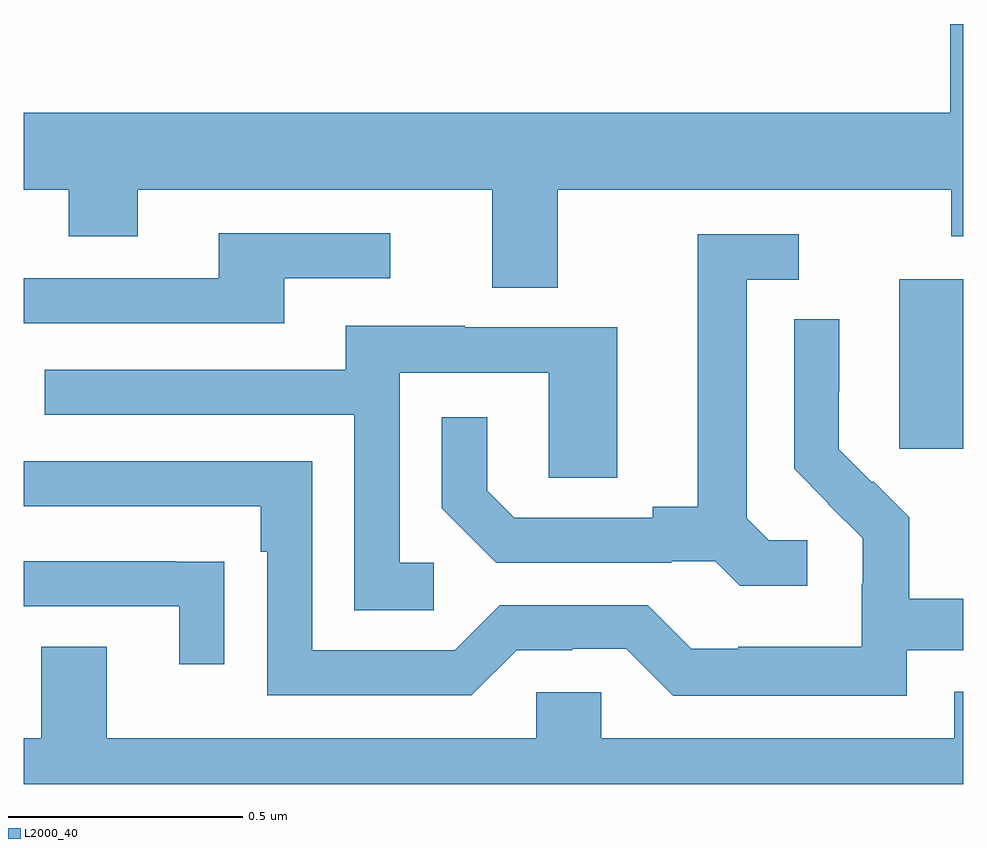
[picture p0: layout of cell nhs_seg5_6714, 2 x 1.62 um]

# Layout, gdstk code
import gdstk
lib = gdstk.Library(unit=1e-6, precision=1e-09)
def R(c, l, rs):  # rectangles x0, y0, x1, y1
    for r in rs: c.add(gdstk.rectangle(r[:2], r[2:], *l))
def P(c, l, *ps):  # polygons
    for p in ps: c.add(gdstk.Polygon(p, *l))
L2000_40 = (2000, 40)

nhs_seg5_6714 = lib.new_cell('nhs_seg5_6714')
R(nhs_seg5_6714, L2000_40, [(200.864,885.513,201,885.874)])
P(nhs_seg5_6714, L2000_40, [(200.137,886.064),(200.974,886.064),(200.974,885.965),(201,885.965),(201,886.417),(200.972,886.417),(200.972,886.228),(199,886.228),(199,886.064),(199.096,886.064),(199.096,885.965),(199.243,885.965),(199.243,886.064),(199.997,886.064),(199.997,885.856),(200.137,885.856)],
  [(199.555,885.876),(199.78,885.876),(199.78,885.972),(199.415,885.972),(199.415,885.876),(199,885.876),(199,885.78),(199.555,885.78)],
  [(200.668,885.318),(200.586,885.318),(200.539,885.365),(200.539,885.873),(200.65,885.873),(200.65,885.969),(200.435,885.969),(200.435,885.389),(200.339,885.389),(200.339,885.366),(200.044,885.366),(199.987,885.423),(199.987,885.58),(199.89,885.58),(199.89,885.386),(200.006,885.27),(200.378,885.27),(200.378,885.273),(200.472,885.273),(200.524,885.221),(200.668,885.221)],
  [(200.88,885.084),(201,885.084),(201,885.193),(200.885,885.193),(200.885,885.367),(200.808,885.444),(200.805,885.441),(200.735,885.512),(200.735,885.634),(200.736,885.634),(200.736,885.788),(200.64,885.788),(200.64,885.47),(200.713,885.397),(200.712,885.396),(200.786,885.322),(200.786,885.225),(200.784,885.225),(200.784,885.091),(200.521,885.091),(200.521,885.087),(200.421,885.087),(200.328,885.18),(200.013,885.18),(199.917,885.084),(199.614,885.084),(199.614,885.486),(199,885.486),(199,885.39),(199.505,885.39),(199.505,885.293),(199.518,885.293),(199.518,884.988),(199.953,884.988),(200.049,885.084),(200.168,885.084),(200.168,885.087),(200.283,885.087),(200.383,884.987),(200.88,884.987)],
  [(199.873,885.27),(199.8,885.27),(199.8,885.675),(200.118,885.675),(200.118,885.451),(200.263,885.451),(200.263,885.771),(199.939,885.771),(199.939,885.775),(199.685,885.775),(199.685,885.681),(199.045,885.681),(199.045,885.585),(199.704,885.585),(199.704,885.169),(199.873,885.169)],
  [(199.427,885.272),(199.325,885.272),(199.325,885.273),(199,885.273),(199,885.177),(199.331,885.177),(199.331,885.054),(199.427,885.054)],
  [(201,884.995),(200.981,884.995),(200.981,884.896),(200.229,884.896),(200.229,884.994),(200.091,884.994),(200.091,884.896),(199.177,884.896),(199.177,885.091),(199.037,885.091),(199.037,884.896),(199,884.896),(199,884.799),(201,884.799)])

lib.write_gds('nhs_seg5_6714.gds')
